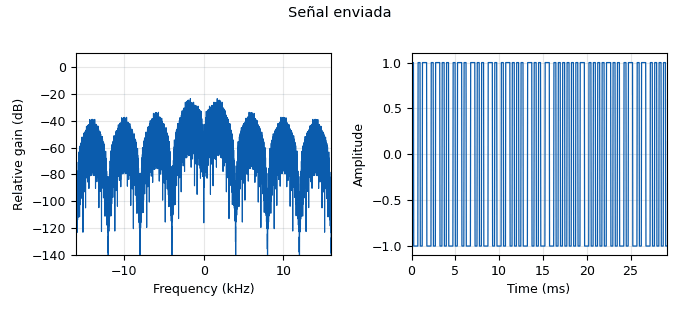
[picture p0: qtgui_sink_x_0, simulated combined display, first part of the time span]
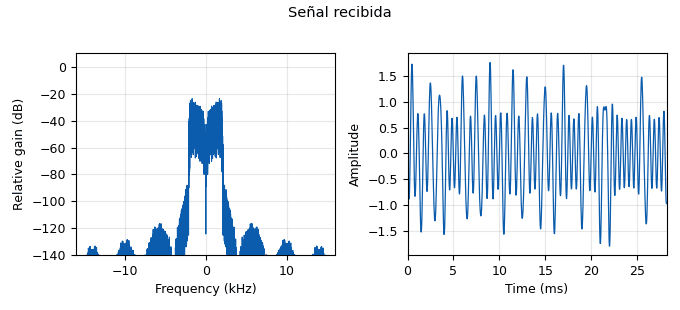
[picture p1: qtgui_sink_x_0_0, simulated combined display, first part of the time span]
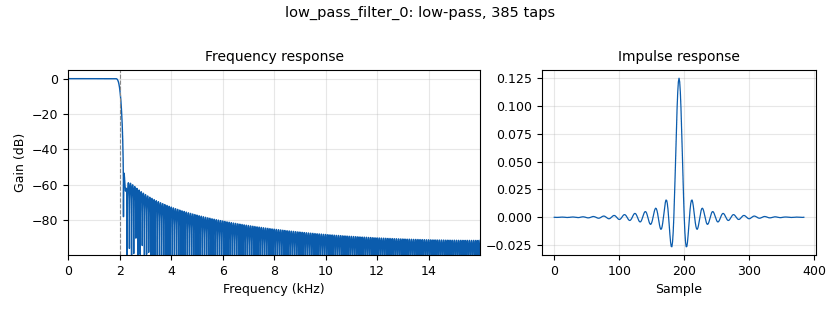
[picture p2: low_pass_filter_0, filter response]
options:
  parameters:
    generate_options: qt_gui
    id: digital_baseband
    output_language: python
    title: Not titled yet
  states: {}

blocks:
- name: bandwidth
  id: variable_qtgui_dial_control
  parameters:
    gui_hint: '[0,5,1,1]'
    label: Bandwidth
    maximum: '80'
    minimum: '5'
    relBackgroundColor: teal
    scaleFactor: '100'
    showvalue: 'True'
    type: real
    value: '2000'
  states: {}
- name: noise
  id: variable_qtgui_dial_control
  parameters:
    gui_hint: '[1,5,1,1]'
    label: Noise
    maximum: '100'
    minimum: '0'
    scaleFactor: '.002'
    showvalue: 'True'
    type: real
    value: '0'
  states: {}
- name: offset
  id: variable_qtgui_dial_control
  parameters:
    label: Offset
    maximum: '100'
    minimum: '0'
    minsize: '0'
    outputmsgname: Offset
    showvalue: 'True'
    type: int
    value: '0'
  states: {}
- name: samp_rate
  id: variable
  parameters:
    value: '32000'
  states: {}
- name: sps
  id: variable
  parameters:
    value: '16'
  states: {}
- name: symbol_rate
  id: variable
  parameters:
    value: samp_rate / sps
  states: {}
- name: analog_noise_source_x_0
  id: analog_noise_source_x
  parameters:
    amp: noise
    noise_type: analog.GR_GAUSSIAN
    seed: '0'
    type: float
  states: {}
- name: analog_random_source_x_1
  id: analog_random_source_x
  parameters:
    max: '2'
    min: '0'
    num_samps: '128'
    repeat: 'True'
    type: byte
  states: {}
- name: analog_sig_source_x_0
  id: analog_sig_source_x
  parameters:
    amp: '2'
    freq: symbol_rate
    offset: '0'
    phase: offset
    samp_rate: samp_rate
    type: float
    waveform: analog.GR_SQR_WAVE
  states: {}
- name: blocks_add_const_vxx_0
  id: blocks_add_const_vxx
  parameters:
    const: '-1'
    type: float
  states: {}
- name: blocks_add_xx_0
  id: blocks_add_xx
  parameters:
    type: float
  states: {}
- name: blocks_char_to_float_0
  id: blocks_char_to_float
  parameters:
    scale: '1'
  states: {}
- name: blocks_multiply_xx_0
  id: blocks_multiply_xx
  parameters:
    type: float
  states: {}
- name: blocks_repeat_0
  id: blocks_repeat
  parameters:
    interp: sps
    type: float
  states: {}
- name: blocks_throttle2_0
  id: blocks_throttle2
  parameters:
    samples_per_second: samp_rate
    type: float
  states: {}
- name: digital_map_bb_0
  id: digital_map_bb
  parameters:
    map: (-1,1)
  states: {}
- name: low_pass_filter_0
  id: low_pass_filter
  parameters:
    cutoff_freq: bandwidth
    decim: '1'
    gain: '1'
    samp_rate: samp_rate
    type: fir_filter_fff
    width: bandwidth/10
    win: window.WIN_HAMMING
  states: {}
- name: qtgui_eye_sink_x_0
  id: qtgui_eye_sink_x
  parameters:
    color2: red
    gui_hint: '[2,0,1,5]'
    label1: Envío
    label2: Recepción
    marker1: '0'
    nconnections: '2'
    samp_per_symbol: '16'
    size: '1024'
    srate: samp_rate
    type: float
  states: {state: disabled}
- name: qtgui_sink_x_0
  id: qtgui_sink_x
  parameters:
    bw: samp_rate
    fc: '0'
    fftsize: '8192'
    gui_hint: '[0,0,1,5]'
    name: '"Señal enviada"'
    plotwaterfall: 'False'
    type: float
    wintype: window.WIN_KAISER
  states: {}
- name: qtgui_sink_x_0_0
  id: qtgui_sink_x
  parameters:
    bw: samp_rate
    fc: '0'
    fftsize: '8192'
    gui_hint: '[1,0,1,5]'
    name: '"Señal recibida"'
    type: float
    wintype: window.WIN_KAISER
  states: {}

connections:
- [analog_noise_source_x_0, '0', blocks_add_xx_0, '1']
- [analog_random_source_x_1, '0', digital_map_bb_0, '0']
- [analog_sig_source_x_0, '0', blocks_add_const_vxx_0, '0']
- [blocks_add_const_vxx_0, '0', blocks_multiply_xx_0, '1']
- [blocks_add_xx_0, '0', qtgui_eye_sink_x_0, '1']
- [blocks_add_xx_0, '0', qtgui_sink_x_0_0, '0']
- [blocks_char_to_float_0, '0', blocks_repeat_0, '0']
- [blocks_multiply_xx_0, '0', blocks_throttle2_0, '0']
- [blocks_repeat_0, '0', blocks_multiply_xx_0, '0']
- [blocks_throttle2_0, '0', low_pass_filter_0, '0']
- [blocks_throttle2_0, '0', qtgui_eye_sink_x_0, '0']
- [blocks_throttle2_0, '0', qtgui_sink_x_0, '0']
- [digital_map_bb_0, '0', blocks_char_to_float_0, '0']
- [low_pass_filter_0, '0', blocks_add_xx_0, '0']

metadata:
  file_format: 1
  grc_version: 3.10.10.0
